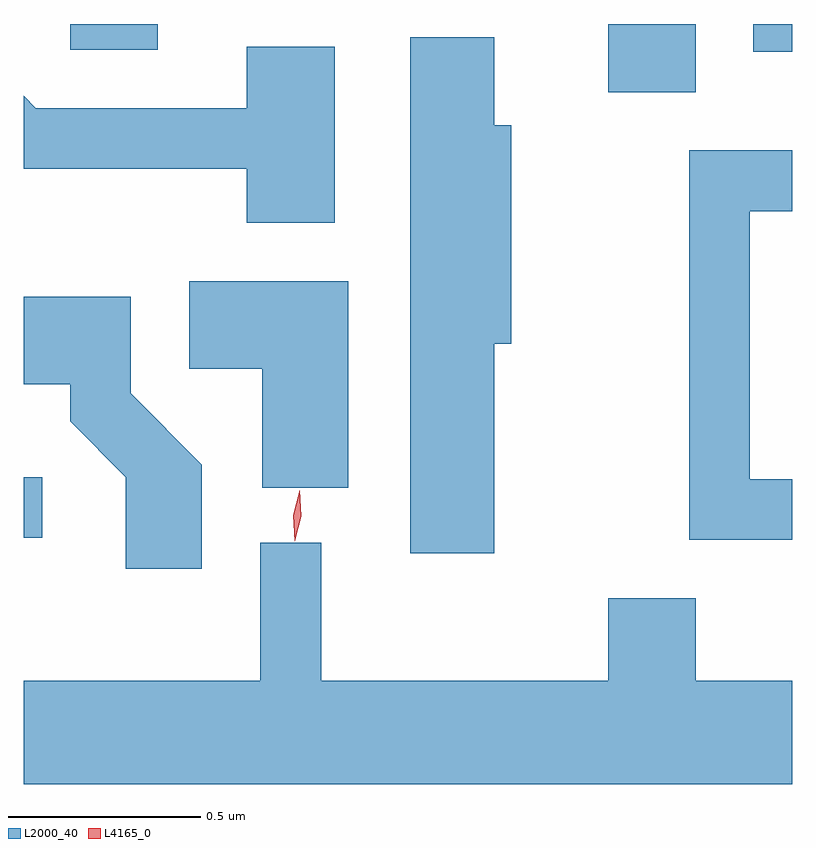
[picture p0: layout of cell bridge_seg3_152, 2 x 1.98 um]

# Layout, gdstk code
import gdstk
lib = gdstk.Library(unit=1e-6, precision=1e-09)
def R(c, l, rs):  # rectangles x0, y0, x1, y1
    for r in rs: c.add(gdstk.rectangle(r[:2], r[2:], *l))
def P(c, l, *ps):  # polygons
    for p in ps: c.add(gdstk.Polygon(p, *l))
L2000_40 = (2000, 40)
L4165_0 = (4165, 0)

bridge_seg3_152 = lib.new_cell('bridge_seg3_152')
R(bridge_seg3_152, L2000_40, [(778.91,1228.776,778.958,1228.934), (780.431,1229.936,780.659,1230.113), (780.808,1230.041,780.91,1230.113), (779.031,1230.046,779.259,1230.113)])
P(bridge_seg3_152, L2000_40, [(780.134,1229.281),(780.179,1229.281),(780.179,1229.849),(780.134,1229.849),(780.134,1230.079),(779.916,1230.079),(779.916,1228.736),(780.134,1228.736)],
  [(779.719,1230.054),(779.491,1230.054),(779.491,1229.894),(778.942,1229.894),(778.91,1229.926),(778.91,1229.736),(779.491,1229.736),(779.491,1229.596),(779.719,1229.596)],
  [(780.91,1228.929),(780.799,1228.929),(780.799,1229.626),(780.91,1229.626),(780.91,1229.784),(780.641,1229.784),(780.641,1228.771),(780.91,1228.771)],
  [(779.754,1229.444),(779.341,1229.444),(779.341,1229.216),(779.531,1229.216),(779.531,1228.906),(779.754,1228.906)],
  [(779.374,1228.967),(779.189,1229.152),(779.189,1229.404),(778.91,1229.404),(778.91,1229.176),(779.031,1229.176),(779.031,1229.079),(779.176,1228.934),(779.176,1228.696),(779.374,1228.696)],
  [(780.91,1228.404),(780.659,1228.404),(780.659,1228.619),(780.431,1228.619),(780.431,1228.404),(779.684,1228.404),(779.684,1228.763),(779.526,1228.763),(779.526,1228.404),(778.91,1228.404),(778.91,1228.136),(780.91,1228.136)])
P(bridge_seg3_152, L4165_0, [(779.615,1228.768),(779.612,1228.835),(779.628,1228.9),(779.628,1228.9),(779.629,1228.9),(779.632,1228.833),(779.616,1228.768),(779.616,1228.768)])

lib.write_gds('bridge_seg3_152.gds')
